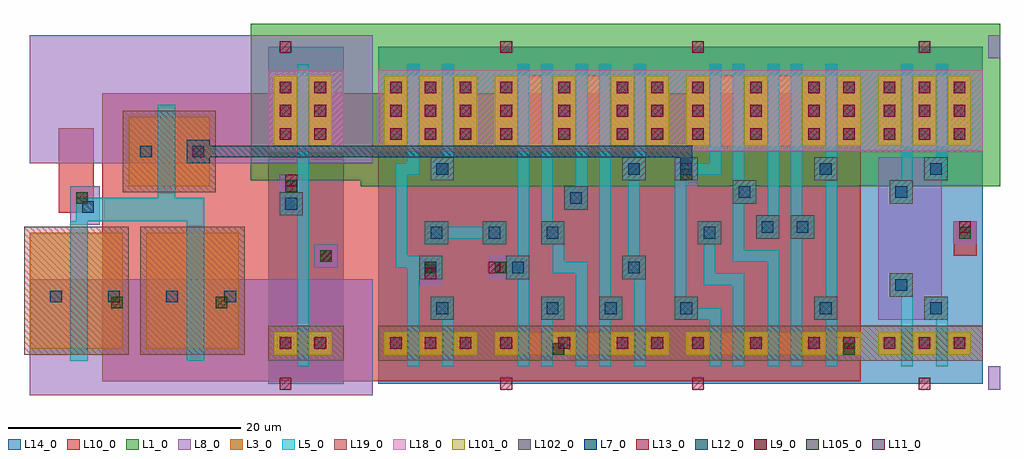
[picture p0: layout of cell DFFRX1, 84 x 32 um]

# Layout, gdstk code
import gdstk
lib = gdstk.Library(unit=1e-6, precision=1e-09)
def R(c, l, rs):  # rectangles x0, y0, x1, y1
    for r in rs: c.add(gdstk.rectangle(r[:2], r[2:], *l))
def A(c, l, x, y, w, h, nx, ny, dx, dy):  # array of equal rectangles
    R(c, l, [(x+i*dx, y+j*dy, x+i*dx+w, y+j*dy+h) for i in range(nx) for j in range(ny)])
def P(c, l, *ps):  # polygons
    for p in ps: c.add(gdstk.Polygon(p, *l))
L1_0 = (1, 0)
L3_0 = (3, 0)
L5_0 = (5, 0)
L7_0 = (7, 0)
L8_0 = (8, 0)
L9_0 = (9, 0)
L10_0 = (10, 0)
L11_0 = (11, 0)
L12_0 = (12, 0)
L13_0 = (13, 0)
L14_0 = (14, 0)
L18_0 = (18, 0)
L19_0 = (19, 0)
L101_0 = (101, 0)
L102_0 = (102, 0)
L105_0 = (105, 0)

dffrx1 = lib.new_cell('DFFRX1')
R(dffrx1, L1_0, [(29,17,84,31), (19.5,17.5,29,31)])
R(dffrx1, L3_0, [(21.5,2.5,26.5,4.5), (31,2.5,39,4.5), (40.5,2.5,55.5,4.5), (57,2.5,72,4.5), (73.5,2.5,81.5,4.5), (0.5,3,8.5,13), (10.5,3,18.5,13), (9,17,16,23), (21.5,20.5,26.5,26.5), (31,20.5,39,26.5), (40.5,20.5,55.5,26.5), (57,20.5,72,26.5), (73.5,20.5,81.5,26.5)])
R(dffrx1, L5_0, [(4,2,5.5,14), (14,2,15.5,14), (4.5,14,15.5,16), (11.5,15.9,13,24)])
P(dffrx1, L5_0, [(23.5,1.5),(23.5,14.5),(22,14.5),(22,16.5),(23.5,16.5),(23.5,27.5),(24.5,27.5),(24.5,1.5)],
  [(36,1.5),(36,5.5),(35,5.5),(35,7.5),(37,7.5),(37,1.5)],
  [(44.5,1.5),(44.5,7.5),(46.5,7.5),(46.5,5.5),(45.5,5.5),(45.5,1.5)],
  [(78.5,1.5),(78.5,5.5),(77.5,5.5),(77.5,7.5),(79.5,7.5),(79.5,1.5)],
  [(75.5,1.5),(75.5,7.5),(74.5,7.5),(74.5,9.5),(76.5,9.5),(76.5,1.5)],
  [(34.5,12),(34.5,14),(36.5,14),(36.5,13.5),(39.5,13.5),(39.5,14),(41.5,14),(41.5,12),(39.5,12),(39.5,12.5),(36.5,12.5),(36.5,12)],
  [(61,1.5),(61,8.5),(58.5,8.5),(58.5,12),(58,12),(58,14),(60,14),(60,12),(59.5,12),(59.5,9.5),(62,9.5),(62,1.5)],
  [(33,1.5),(33,10),(32,10),(32,19),(33,19),(33,27.5),(34,27.5),(34,18),(33,18),(33,11),(36,11),(36,9),(34,9),(34,1.5)],
  [(35,17.5),(35,19.5),(36,19.5),(36,27.5),(37,27.5),(37,17.5)],
  [(42.5,1.5),(42.5,9),(41.5,9),(41.5,11),(42.5,11),(42.5,27.5),(43.5,27.5),(43.5,1.5)],
  [(47.5,1.5),(47.5,9.5),(45.5,9.5),(45.5,12),(44.5,12),(44.5,27.5),(45.5,27.5),(45.5,14),(46.5,14),(46.5,10.5),(48.5,10.5),(48.5,1.5)],
  [(46.5,15),(46.5,17),(47.5,17),(47.5,27.5),(48.5,27.5),(48.5,15)],
  [(49.5,1.5),(49.5,27.5),(50.5,27.5),(50.5,7.5),(51.5,7.5),(51.5,5.5),(50.5,5.5),(50.5,1.5)],
  [(52.5,1.5),(52.5,9),(51.5,9),(51.5,11),(52,11),(52,17.5),(51.5,17.5),(51.5,19.5),(52.5,19.5),(52.5,27.5),(53.5,27.5),(53.5,17.5),(53,17.5),(53,11),(53.5,11),(53.5,1.5)],
  [(59,1.5),(59,5.5),(56,5.5),(56,19.5),(58,19.5),(58,19),(59,19),(59,27.5),(60,27.5),(60,18),(58,18),(58,17.5),(57,17.5),(57,7.5),(58,7.5),(58,6.5),(60,6.5),(60,1.5)],
  [(64,1.5),(64,10.5),(61,10.5),(61,27.5),(62,27.5),(62,17.5),(63,17.5),(63,15.5),(62,15.5),(62,11.5),(65,11.5),(65,1.5)],
  [(63,12.5),(63,14.5),(64,14.5),(64,27.5),(65,27.5),(65,12.5)],
  [(66,1.5),(66,27.5),(67,27.5),(67,14.5),(68,14.5),(68,12.5),(67,12.5),(67,1.5)],
  [(69,1.5),(69,5.5),(68,5.5),(68,7.5),(69,7.5),(69,17.5),(68,17.5),(68,19.5),(69,19.5),(69,27.5),(70,27.5),(70,1.5)],
  [(74.5,15.5),(74.5,17.5),(75.5,17.5),(75.5,27.5),(76.5,27.5),(76.5,15.5)],
  [(77.5,17.5),(77.5,19.5),(78.5,19.5),(78.5,27.5),(79.5,27.5),(79.5,17.5)])
A(dffrx1, L7_0, 31.5, 3, 1, 1, 3, 2, 3, 18)
A(dffrx1, L7_0, 41, 3, 1, 1, 3, 2, 5, 18)
A(dffrx1, L7_0, 57.5, 3, 1, 1, 3, 2, 5, 18)
A(dffrx1, L7_0, 74, 3, 1, 1, 3, 2, 3, 18)
A(dffrx1, L7_0, 2.25, 7, 1, 1, 4, 1, 5, 0)
A(dffrx1, L7_0, 35, 12.5, 1, 1, 3, 1, 5, 0)
A(dffrx1, L7_0, 22, 21, 1, 1, 1, 3, 0, 2)
A(dffrx1, L7_0, 25, 21, 1, 1, 1, 3, 0, 2)
A(dffrx1, L7_0, 54, 21, 1, 1, 1, 3, 0, 2)
A(dffrx1, L7_0, 70.5, 21, 1, 1, 1, 3, 0, 2)
A(dffrx1, L7_0, 31.5, 23, 1, 1, 3, 2, 3, 2)
A(dffrx1, L7_0, 41, 23, 1, 1, 3, 2, 5, 2)
A(dffrx1, L7_0, 57.5, 23, 1, 1, 3, 2, 5, 2)
A(dffrx1, L7_0, 74, 23, 1, 1, 3, 2, 3, 2)
R(dffrx1, L7_0, [(22,3,23,4), (25,3,26,4), (54,3,55,4), (70.5,3,71.5,4), (35.5,6,36.5,7), (45,6,46,7), (50,6,51,7), (56.5,6,57.5,7), (68.5,6,69.5,7), (78,6,79,7), (75,8,76,9), (34.5,9.5,35.5,10.5), (42,9.5,43,10.5), (52,9.5,53,10.5), (58.5,12.5,59.5,13.5), (63.5,13,64.5,14), (66.5,13,67.5,14), (5,14.7,6,15.7), (22.5,15,23.5,16), (47,15.5,48,16.5), (61.5,16,62.5,17), (75,16,76,17), (35.5,18,36.5,19), (52,18,53,19), (56.5,18,57.5,19), (68.5,18,69.5,19), (78,18,79,19), (10,19.5,11,20.5), (14.5,19.5,15.5,20.5)])
R(dffrx1, L8_0, [(0.5,-1,30,9), (83,-0.5,84,1.5), (45,2,47,4), (70,2,72,4), (73.5,5.5,79,19.5), (34,8.5,36,11), (40,9,43.5,11), (25,10,27,12), (80,12,82,14), (4,13.7,6.5,17), (22,14.5,24,18), (56,17,58,19), (0.5,19,30,30), (83,28,84,30)])
R(dffrx1, L9_0, [(45.5,2.5,46.5,3.5), (70.5,2.5,71.5,3.5), (7.5,6.5,8.5,7.5), (16.5,6.5,17.5,7.5), (34.5,9.5,35.5,10.5), (40.5,9.5,41.5,10.5), (25.5,10.5,26.5,11.5), (80.5,12.5,81.5,13.5), (4.5,15.5,5.5,16.5), (22.5,16.5,23.5,17.5), (56.5,17.5,57.5,18.5), (14.5,19.5,15.5,20.5)])
R(dffrx1, L10_0, [(6.75,0.2,72,25), (80,11,82,14), (3,14.7,6,22), (56,17,58,19)])
R(dffrx1, L11_0, [(56.5,18,57.5,19), (14.5,19.5,15.5,20.5)])
R(dffrx1, L12_0, [(56.5,18,57.5,20.5), (14,19,16,21), (14,19.5,57.5,20.5)])
A(dffrx1, L13_0, 31.5, 3, 1, 1, 3, 2, 3, 18)
A(dffrx1, L13_0, 41, 3, 1, 1, 3, 2, 5, 18)
A(dffrx1, L13_0, 57.5, 3, 1, 1, 3, 2, 5, 18)
A(dffrx1, L13_0, 74, 3, 1, 1, 3, 2, 3, 18)
A(dffrx1, L13_0, 22, 21, 1, 1, 1, 3, 0, 2)
A(dffrx1, L13_0, 25, 21, 1, 1, 1, 3, 0, 2)
A(dffrx1, L13_0, 54, 21, 1, 1, 1, 3, 0, 2)
A(dffrx1, L13_0, 70.5, 21, 1, 1, 1, 3, 0, 2)
A(dffrx1, L13_0, 31.5, 23, 1, 1, 3, 2, 3, 2)
A(dffrx1, L13_0, 41, 23, 1, 1, 3, 2, 5, 2)
A(dffrx1, L13_0, 57.5, 23, 1, 1, 3, 2, 5, 2)
A(dffrx1, L13_0, 74, 23, 1, 1, 3, 2, 3, 2)
R(dffrx1, L13_0, [(22,-0.5,23,0.5), (41,-0.5,42,0.5), (57.5,-0.5,58.5,0.5), (77,-0.5,78,0.5), (22,3,23,4), (25,3,26,4), (54,3,55,4), (70.5,3,71.5,4), (34.5,9,35.5,10), (40,9.5,41,10.5), (25.5,10.5,26.5,11.5), (80.5,13,81.5,14), (22.5,17,23.5,18), (22,28.5,23,29.5), (41,28.5,42,29.5), (57.5,28.5,58.5,29.5), (77,28.5,78,29.5)])
R(dffrx1, L14_0, [(21,0,27.5,29), (30.5,0,82.5,29)])
R(dffrx1, L18_0, [(21,20,27.5,27), (30.5,20,82.5,27)])
R(dffrx1, L19_0, [(21,2,27.5,5), (30.5,2,82.5,5), (0,2.5,9,13.5), (10,2.5,19,13.5), (8.5,16.5,16.5,23.5)])
A(dffrx1, L101_0, 31, 2.5, 2, 2, 3, 1, 3, 0)
A(dffrx1, L101_0, 40.5, 2.5, 2, 2, 3, 1, 5, 0)
A(dffrx1, L101_0, 57, 2.5, 2, 2, 3, 1, 5, 0)
A(dffrx1, L101_0, 73.5, 2.5, 2, 2, 3, 1, 3, 0)
A(dffrx1, L101_0, 31, 20.5, 2, 6, 3, 1, 3, 0)
A(dffrx1, L101_0, 40.5, 20.5, 2, 6, 3, 1, 5, 0)
A(dffrx1, L101_0, 57, 20.5, 2, 6, 3, 1, 5, 0)
A(dffrx1, L101_0, 73.5, 20.5, 2, 6, 3, 1, 3, 0)
R(dffrx1, L101_0, [(21.5,2.5,23.5,4.5), (24.5,2.5,26.5,4.5), (53.5,2.5,55.5,4.5), (70,2.5,72,4.5), (21.5,20.5,23.5,26.5), (24.5,20.5,26.5,26.5), (53.5,20.5,55.5,26.5), (70,20.5,72,26.5)])
A(dffrx1, L102_0, 34.5, 12, 2, 2, 3, 1, 5, 0)
R(dffrx1, L102_0, [(35,5.5,37,7.5), (44.5,5.5,46.5,7.5), (49.5,5.5,51.5,7.5), (56,5.5,58,7.5), (68,5.5,70,7.5), (77.5,5.5,79.5,7.5), (74.5,7.5,76.5,9.5), (34,9,36,11), (41.5,9,43.5,11), (51.5,9,53.5,11), (58,12,60,14), (63,12.5,65,14.5), (66,12.5,68,14.5), (22,14.5,24,16.5), (46.5,15,48.5,17), (61,15.5,63,17.5), (74.5,15.5,76.5,17.5), (35,17.5,37,19.5), (51.5,17.5,53.5,19.5), (56,17.5,58,19.5), (68,17.5,70,19.5), (77.5,17.5,79.5,19.5)])
R(dffrx1, L105_0, [(45.5,2.5,46.5,3.5), (70.5,2.5,71.5,3.5), (7.5,6.5,8.5,7.5), (16.5,6.5,17.5,7.5), (34.5,9.5,35.5,10.5), (40.5,9.5,41.5,10.5), (25.5,10.5,26.5,11.5), (80.5,12.5,81.5,13.5), (4.5,15.5,5.5,16.5), (22.5,16.5,23.5,17.5), (56.5,17.5,57.5,18.5), (14.5,19.5,15.5,20.5)])

lib.write_gds('DFFRX1.gds')
